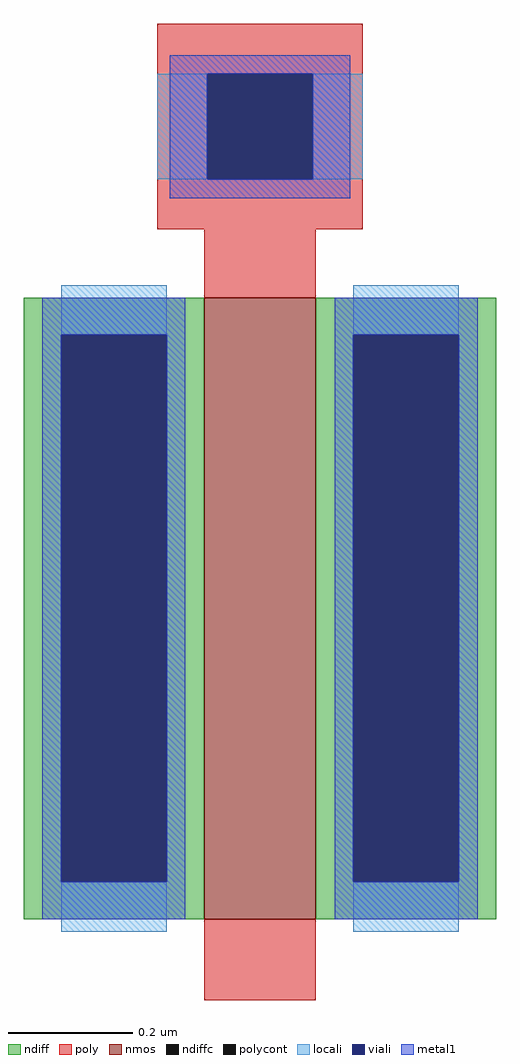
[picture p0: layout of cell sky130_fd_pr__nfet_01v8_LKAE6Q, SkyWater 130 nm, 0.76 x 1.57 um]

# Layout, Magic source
magic
tech sky130A
magscale 1 2
<< nmos >>
rect -18 -131 18 69
<< ndiff >>
rect -76 57 -18 69
rect -76 -119 -64 57
rect -30 -119 -18 57
rect -76 -131 -18 -119
rect 18 57 76 69
rect 18 -119 30 57
rect 64 -119 76 57
rect 18 -131 76 -119
<< ndiffc >>
rect -64 -119 -30 57
rect 30 -119 64 57
<< poly >>
rect -33 141 33 157
rect -33 107 -17 141
rect 17 107 33 141
rect -33 91 33 107
rect -18 69 18 91
rect -18 -157 18 -131
<< polycont >>
rect -17 107 17 141
<< locali >>
rect -33 107 -17 141
rect 17 107 33 141
rect -64 57 -30 73
rect -64 -135 -30 -119
rect 30 57 64 73
rect 30 -135 64 -119
<< viali >>
rect -17 107 17 141
rect -64 -119 -30 57
rect 30 -119 64 57
<< metal1 >>
rect -29 141 29 147
rect -29 107 -17 141
rect 17 107 29 141
rect -29 101 29 107
rect -70 57 -24 69
rect -70 -119 -64 57
rect -30 -119 -24 57
rect -70 -131 -24 -119
rect 24 57 70 69
rect 24 -119 30 57
rect 64 -119 70 57
rect 24 -131 70 -119
<< properties >>
string gencell sky130_fd_pr__nfet_01v8
string library sky130
string parameters w 1.0 l 0.18 m 1 nf 1 diffcov 100 polycov 100 guard 0 glc 1 grc 1 gtc 1 gbc 1 tbcov 100 rlcov 100 topc 1 botc 0 poverlap 0 doverlap 1 lmin 0.15 wmin 0.42 compatible {sky130_fd_pr__nfet_01v8 sky130_fd_pr__nfet_01v8_lvt  sky130_fd_bs_flash__special_sonosfet_star  sky130_fd_pr__nfet_g5v0d10v5 sky130_fd_pr__nfet_05v0_nvt  sky130_fd_pr__nfet_03v3_nvt} full_metal 0 viasrc 100 viadrn 100 viagate 100 viagb 0 viagr 0 viagl 0 viagt 0
<< end >>
